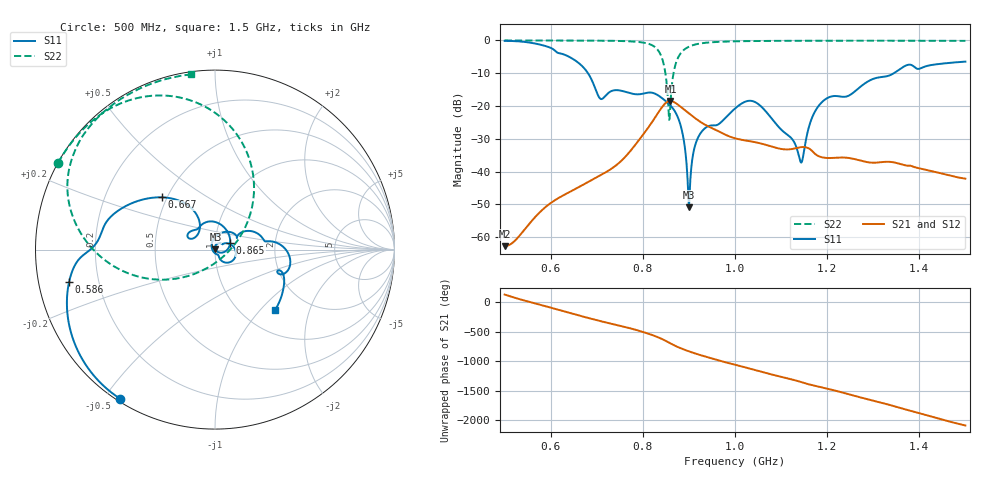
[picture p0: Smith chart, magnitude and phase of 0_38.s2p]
! TOUCHSTONE file generated by CST MICROWAVE STUDIO
! Date and time: Sat Oct 24 11:17:17 2020
! Project name: Scenario_1_Circular_Tissue_in_Line.cst
! Parameters = {L_HA=400; MT=2.54; Rad_Dielectric=30; Rad_Lower=7.3; Rad_Upper=30; a_HA=580; a_WG=246; b_HA=500; b_WG=121; c_HA=0; c_WG=187; d_feed=85; dx1=813.84; h_feed=15; h_lower=18; h_upper=40}
! Header version: 2018
! Port assignment regex: !\s*Touchstone port\s*([0-9]+)\s*=\s*(CST MWS port|CST DS port)\s*([0-9]+|Zmin|Zmax)\s*\(\"(.*)\"\)(\s*mode\s*([0-9]+))?.*
! Touchstone port assignment:
! Touchstone port 1 = CST MWS port 1 ("")
! Touchstone port 2 = CST MWS port 2 ("")
# GHz S DB R 50
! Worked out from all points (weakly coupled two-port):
!   1003 points, 500 MHz to 1.5 GHz, reference 50 ohm
!   highest |S21| = -18.49 dB at 860 MHz (marker M1); lowest = -62.8 dB at 500 MHz (marker M2)
!   lowest |S11| = -50.9 dB at 900 MHz (marker M3), VSWR 1.01, Z = 50.3 + j0.13 ohm
!   |S11| at or under -10 dB: 680.9 MHz to 1.345 GHz (663.8 MHz wide, 65.5 % of centre)
!   |S22| runs from -24.2 to 0.0 dB; largest |S21 - S12| = 0.00055
!   S11 on the Smith chart (normalised r, x): 500 MHz: 0.01, -0.55; 586 MHz: 0.09, -0.11; 667 MHz: 0.47, +0.33; 865 MHz: 1.18, +0.09; 1.5 GHz: 1.38, -1.21
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0.5  -0.13 -122.4  -62.78 128.3  -62.78 128.3  -0.01 151.1
0.586  -1.60 -167.7  -51.18 -62.9  -51.18 -62.9  -0.02 145.2
0.667  -7.66 135.3  -44.29 122.2  -44.29 122.2  -0.04 138.3
0.709  -17.88 139.5  -41.06 36.8  -41.06 36.8  -0.07 133.7
0.789  -16.45 129.6  -30.87 -118.4  -30.87 -118.4  -0.45 117.4
0.834  -16.84 77.6  -21.92 122.2  -21.92 122.2  -3.20 82.9
0.848  -18.31 55.2  -19.30 70.8  -19.30 70.8  -9.17 52.2
0.855  -19.17 43.2  -18.61 41.9  -18.61 41.9  -19.32 12.7
0.86  -19.87 33.8  -18.49 21.0  -18.49 21.0  -19.01 -113.3
0.865  -20.71 23.7  -18.64 0.7  -18.64 0.7  -11.38 -143.1
0.885  -27.62 -24.1  -20.59 -69.2  -20.59 -69.2  -3.44 -179.5
0.9  -50.91 26.9  -22.29 -112.8  -22.29 -112.8  -1.91 168.1
0.912  -32.77 82.8  -23.58 -144.5  -23.58 -144.5  -1.30 161.5
0.924  -28.57 66.6  -24.77 -174.0  -24.77 -174.0  -0.94 156.4
1  -20.78 18.7  -29.86 20.9  -29.86 20.9  -0.27 140.2
1.051  -19.47 -42.2  -31.27 -84.4  -31.27 -84.4  -0.17 134.3
1.124  -30.10 -63.2  -33.13 131.0  -33.13 130.9  -0.11 127.6
1.143  -37.22 -141.9  -32.56 89.2  -32.56 88.8  -0.10 126.1
1.167  -23.65 92.5  -33.69 37.2  -33.53 36.7  -0.10 124.2
1.2  -17.61 47.4  -35.88 -23.8  -35.88 -23.8  -0.09 121.6
1.334  -10.74 9.0  -37.03 64.0  -37.03 64.0  -0.09 111.4
1.5  -6.46 -45.5  -42.19 73.6  -42.19 72.9  -0.13 97.8
